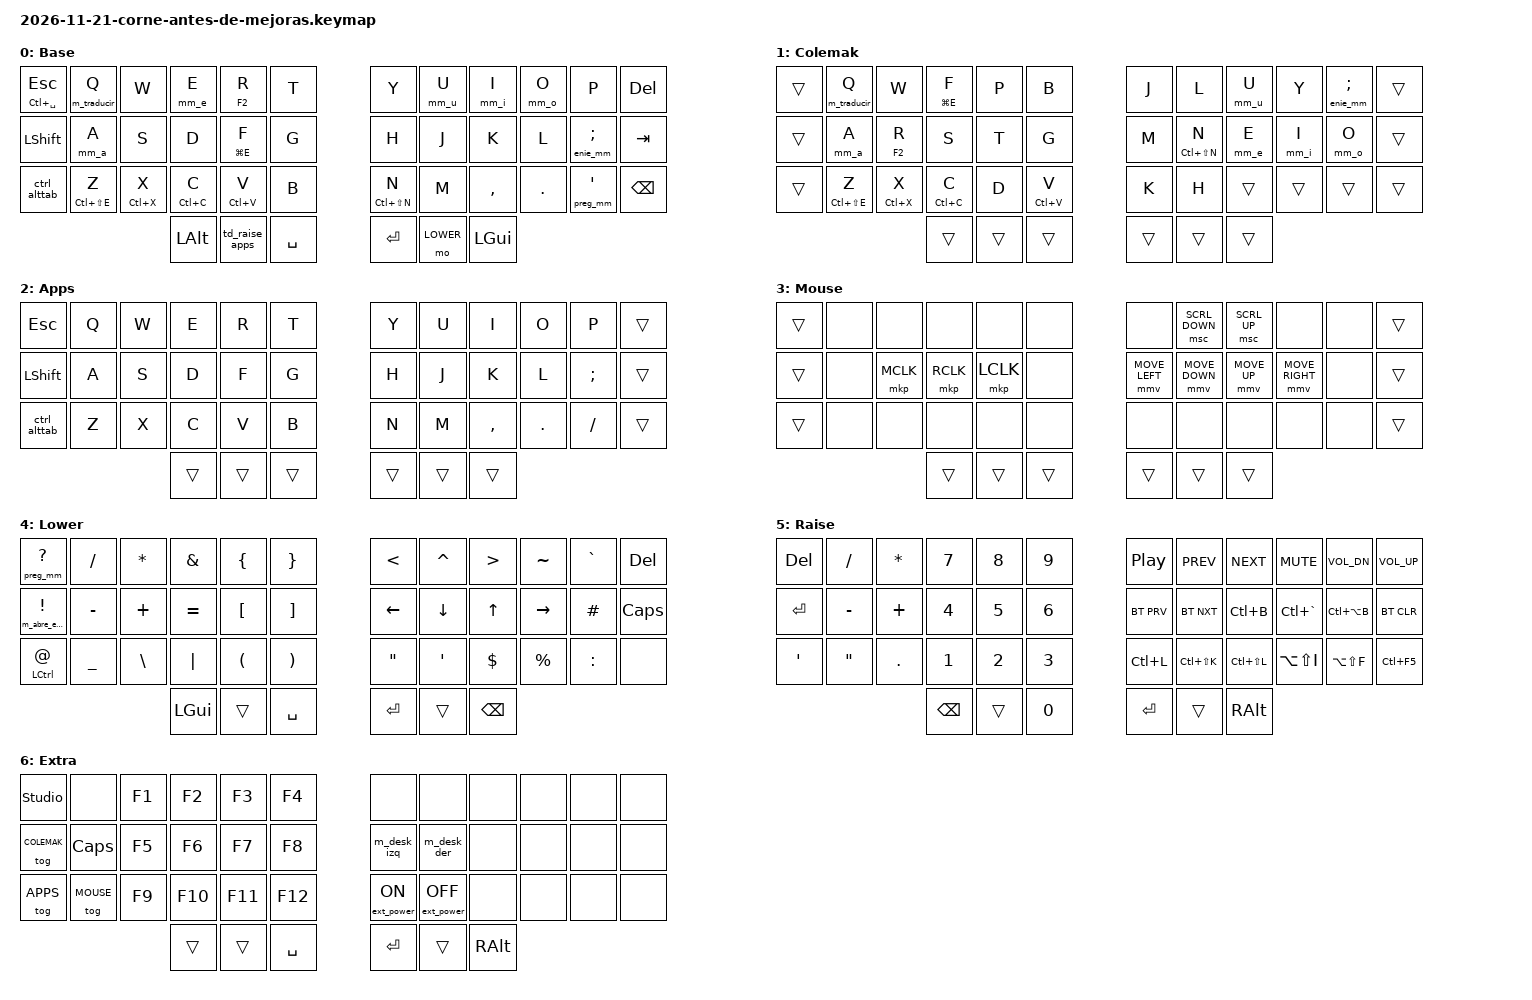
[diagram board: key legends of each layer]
#include <behaviors.dtsi>
#include <dt-bindings/zmk/bt.h>
#include <dt-bindings/zmk/ext_power.h>
#include <dt-bindings/zmk/keys.h>
#include <dt-bindings/zmk/pointing.h>

#define BASE     0
#define COLEMAK  1
#define APPS     2
#define MOUSE    3
#define LOWER    4
#define RAISE    5
#define EXTRA    6

// Combos: dos teclas juntas, solo en la capa base indicada. Posiciones:
//  0  1  2  3  4  5     6  7  8  9 10 11
// 12 13 14 15 16 17    18 19 20 21 22 23
// 24 25 26 27 28 29    30 31 32 33 34 35
//          36 37 38    39 40 41
#define COMBO(NAME, BINDING, KEYS, LAYER) \
    NAME { \
        timeout-ms = <35>; \
        key-positions = <KEYS>; \
        layers = <LAYER>; \
        bindings = <BINDING>; \
    };

/ {
    macros {
        m_paren: m_paren {
            compatible = "zmk,behavior-macro";
            #binding-cells = <0>;
            bindings = <&macro_tap &kp LPAR &kp RPAR &kp LEFT>;
        };
        m_brace: m_brace {
            compatible = "zmk,behavior-macro";
            #binding-cells = <0>;
            bindings = <&macro_tap &kp LBRC &kp RBRC &kp LEFT>;
        };
        m_bracket: m_bracket {
            compatible = "zmk,behavior-macro";
            #binding-cells = <0>;
            bindings = <&macro_tap &kp LBKT &kp RBKT &kp LEFT>;
        };
        m_eqeq: m_eqeq {
            compatible = "zmk,behavior-macro";
            #binding-cells = <0>;
            bindings = <&macro_tap &kp EQUAL &kp EQUAL>;
        };
        m_lte: m_lte {
            compatible = "zmk,behavior-macro";
            #binding-cells = <0>;
            bindings = <&macro_tap &kp LT &kp EQUAL>;
        };
        m_gte: m_gte {
            compatible = "zmk,behavior-macro";
            #binding-cells = <0>;
            bindings = <&macro_tap &kp GT &kp EQUAL>;
        };
        m_neq: m_neq {
            compatible = "zmk,behavior-macro";
            #binding-cells = <0>;
            bindings = <&macro_tap &kp EXCL &kp EQUAL>;
        };
        m_pluseq: m_pluseq {
            compatible = "zmk,behavior-macro";
            #binding-cells = <0>;
            bindings = <&macro_tap &kp PLUS &kp EQUAL>;
        };
        m_minuseq: m_minuseq {
            compatible = "zmk,behavior-macro";
            #binding-cells = <0>;
            bindings = <&macro_tap &kp MINUS &kp EQUAL>;
        };
        m_dslash: m_dslash {
            compatible = "zmk,behavior-macro";
            #binding-cells = <0>;
            bindings = <&macro_tap &kp FSLH &kp FSLH>;
        };
        m_dstar: m_dstar {
            compatible = "zmk,behavior-macro";
            #binding-cells = <0>;
            bindings = <&macro_tap &kp STAR &kp STAR>;
        };
        // Toca una sola vez la combinacion que recibe (para que mantener no la repita)
        tocar_una_vez: tocar_una_vez {
            compatible = "zmk,behavior-macro-one-param";
            #binding-cells = <1>;
            bindings
                = <&macro_param_1to1>
                , <&macro_tap &kp MACRO_PLACEHOLDER>
                ;
        };
        // Handy traducir: mantiene Ctrl+Shift+Espacio mientras se mantiene la Q.
        // Al apretar: Ctrl, Shift, Espacio. Al soltar: primero Espacio y despues los modificadores.
        m_traducir: m_traducir {
            compatible = "zmk,behavior-macro";
            #binding-cells = <0>;
            wait-ms = <20>;
            tap-ms = <20>;
            bindings
                = <&macro_press &kp LCTRL>
                , <&macro_press &kp LSHFT>
                , <&macro_press &kp SPACE>
                , <&macro_pause_for_release>
                , <&macro_release &kp SPACE>
                , <&macro_release &kp LSHFT>
                , <&macro_release &kp LCTRL>
                ;
        };
        // n con tilde por codigo Alt de Windows (requiere Bloq Num activado): Alt+0241 = n, Alt+0209 = N mayuscula
        // Escritorio virtual: Win y Ctrl se aprietan primero y la flecha despues, como a mano
        // Minimizar la ventana activa: Alt+Espacio (menu de la ventana) y despues N
        m_minimizar: m_minimizar {
            compatible = "zmk,behavior-macro";
            #binding-cells = <0>;
            wait-ms = <30>;
            tap-ms = <30>;
            bindings
                = <&macro_press &kp LALT>
                , <&macro_tap &kp SPACE>
                , <&macro_release &kp LALT>
                , <&macro_wait_time 150>
                , <&macro_tap &kp N>
                ;
        };
        m_desk_izq: m_desk_izq {
            compatible = "zmk,behavior-macro";
            #binding-cells = <0>;
            wait-ms = <30>;
            tap-ms = <30>;
            bindings
                = <&macro_press &kp LGUI &kp LCTRL>
                , <&macro_tap &kp LEFT>
                , <&macro_release &kp LCTRL &kp LGUI>
                ;
        };
        m_desk_der: m_desk_der {
            compatible = "zmk,behavior-macro";
            #binding-cells = <0>;
            wait-ms = <30>;
            tap-ms = <30>;
            bindings
                = <&macro_press &kp LGUI &kp LCTRL>
                , <&macro_tap &kp RIGHT>
                , <&macro_release &kp LCTRL &kp LGUI>
                ;
        };
        m_enie: m_enie {
            compatible = "zmk,behavior-macro";
            #binding-cells = <0>;
            wait-ms = <10>;
            tap-ms = <10>;
            bindings
                = <&macro_press &kp LALT>
                , <&macro_tap &kp KP_N0 &kp KP_N2 &kp KP_N4 &kp KP_N1>
                , <&macro_release &kp LALT>
                ;
        };
        m_enie_may: m_enie_may {
            compatible = "zmk,behavior-macro";
            #binding-cells = <0>;
            wait-ms = <10>;
            tap-ms = <10>;
            bindings
                = <&macro_press &kp LALT>
                , <&macro_tap &kp KP_N0 &kp KP_N2 &kp KP_N0 &kp KP_N9>
                , <&macro_release &kp LALT>
                ;
        };
        // Signos de apertura por codigo Alt: Alt+0191 = signo de pregunta invertido, Alt+0161 = exclamacion invertida
        m_abre_preg: m_abre_preg {
            compatible = "zmk,behavior-macro";
            #binding-cells = <0>;
            wait-ms = <10>;
            tap-ms = <10>;
            bindings
                = <&macro_press &kp LALT>
                , <&macro_tap &kp KP_N0 &kp KP_N1 &kp KP_N9 &kp KP_N1>
                , <&macro_release &kp LALT>
                ;
        };
        m_abre_excl: m_abre_excl {
            compatible = "zmk,behavior-macro";
            #binding-cells = <0>;
            wait-ms = <10>;
            tap-ms = <10>;
            bindings
                = <&macro_press &kp LALT>
                , <&macro_tap &kp KP_N0 &kp KP_N1 &kp KP_N6 &kp KP_N1>
                , <&macro_release &kp LALT>
                ;
        };
        // Vocales con tilde por codigo Alt (minuscula / mayuscula). Requiere Bloq Num activado.
        m_aa: m_aa {
            compatible = "zmk,behavior-macro";
            #binding-cells = <0>;
            wait-ms = <10>;
            tap-ms = <10>;
            bindings
                = <&macro_press &kp LALT>
                , <&macro_tap &kp KP_N0 &kp KP_N2 &kp KP_N2 &kp KP_N5>
                , <&macro_release &kp LALT>
                ;
        };
        m_aa_may: m_aa_may {
            compatible = "zmk,behavior-macro";
            #binding-cells = <0>;
            wait-ms = <10>;
            tap-ms = <10>;
            bindings
                = <&macro_press &kp LALT>
                , <&macro_tap &kp KP_N0 &kp KP_N1 &kp KP_N9 &kp KP_N3>
                , <&macro_release &kp LALT>
                ;
        };
        m_ee: m_ee {
            compatible = "zmk,behavior-macro";
            #binding-cells = <0>;
            wait-ms = <10>;
            tap-ms = <10>;
            bindings
                = <&macro_press &kp LALT>
                , <&macro_tap &kp KP_N0 &kp KP_N2 &kp KP_N3 &kp KP_N3>
                , <&macro_release &kp LALT>
                ;
        };
        m_ee_may: m_ee_may {
            compatible = "zmk,behavior-macro";
            #binding-cells = <0>;
            wait-ms = <10>;
            tap-ms = <10>;
            bindings
                = <&macro_press &kp LALT>
                , <&macro_tap &kp KP_N0 &kp KP_N2 &kp KP_N0 &kp KP_N1>
                , <&macro_release &kp LALT>
                ;
        };
        m_ii: m_ii {
            compatible = "zmk,behavior-macro";
            #binding-cells = <0>;
            wait-ms = <10>;
            tap-ms = <10>;
            bindings
                = <&macro_press &kp LALT>
                , <&macro_tap &kp KP_N0 &kp KP_N2 &kp KP_N3 &kp KP_N7>
                , <&macro_release &kp LALT>
                ;
        };
        m_ii_may: m_ii_may {
            compatible = "zmk,behavior-macro";
            #binding-cells = <0>;
            wait-ms = <10>;
            tap-ms = <10>;
            bindings
                = <&macro_press &kp LALT>
                , <&macro_tap &kp KP_N0 &kp KP_N2 &kp KP_N0 &kp KP_N5>
                , <&macro_release &kp LALT>
                ;
        };
        m_oo: m_oo {
            compatible = "zmk,behavior-macro";
            #binding-cells = <0>;
            wait-ms = <10>;
            tap-ms = <10>;
            bindings
                = <&macro_press &kp LALT>
                , <&macro_tap &kp KP_N0 &kp KP_N2 &kp KP_N4 &kp KP_N3>
                , <&macro_release &kp LALT>
                ;
        };
        m_oo_may: m_oo_may {
            compatible = "zmk,behavior-macro";
            #binding-cells = <0>;
            wait-ms = <10>;
            tap-ms = <10>;
            bindings
                = <&macro_press &kp LALT>
                , <&macro_tap &kp KP_N0 &kp KP_N2 &kp KP_N1 &kp KP_N1>
                , <&macro_release &kp LALT>
                ;
        };
        m_uu: m_uu {
            compatible = "zmk,behavior-macro";
            #binding-cells = <0>;
            wait-ms = <10>;
            tap-ms = <10>;
            bindings
                = <&macro_press &kp LALT>
                , <&macro_tap &kp KP_N0 &kp KP_N2 &kp KP_N5 &kp KP_N0>
                , <&macro_release &kp LALT>
                ;
        };
        m_uu_may: m_uu_may {
            compatible = "zmk,behavior-macro";
            #binding-cells = <0>;
            wait-ms = <10>;
            tap-ms = <10>;
            bindings
                = <&macro_press &kp LALT>
                , <&macro_tap &kp KP_N0 &kp KP_N2 &kp KP_N1 &kp KP_N8>
                , <&macro_release &kp LALT>
                ;
        };
    };

    combos {
        compatible = "zmk,combos";
        COMBO(c_paren, &m_paren, 19 20, BASE)   // J + K  ->  ()
        COMBO(c_brace, &m_brace, 20 21, BASE)   // K + L  ->  {}
        COMBO(c_bracket, &m_bracket, 31 32, BASE)   // M + ,  ->  []
        COMBO(c_cerrar, &kp LA(F4), 1 2, BASE)   // Q + W  ->  Alt+F4 (cerrar ventana)
        COMBO(c_minimizar, &m_minimizar, 1 3, BASE)   // Q + E  ->  minimizar ventana (Alt+Espacio, N)
        COMBO(c_del, &kp DEL, 25 26, BASE COLEMAK APPS)   // Z + X  ->  Del (tambien en modo Apps)
        COMBO(c_eqeq, &m_eqeq, 26 27, BASE)   // X + C  ->  ==
        COMBO(c_lte, &m_lte, 27 28, BASE)   // C + V  ->  <=
        COMBO(c_gte, &m_gte, 28 29, BASE)   // V + B  ->  >=
        COMBO(c_neq, &m_neq, 14 15, BASE)   // S + D  ->  !=
        COMBO(c_pluseq, &m_pluseq, 15 16, BASE)   // D + F  ->  +=
        COMBO(c_minuseq, &m_minuseq, 16 17, BASE)   // F + G  ->  -=
        COMBO(c_dslash, &m_dslash, 32 33, BASE)   // , + .  ->  //
        COMBO(c_dstar, &m_dstar, 30 31, BASE)   // N + M  ->  **
        // Colemak-DH: las posiciones que en Colemak caen sobre pares comunes se movieron.
        COMBO(k_neq,     &m_neq,     1 2,   COLEMAK)   // Q + W  ->  !=
        COMBO(k_pluseq,  &m_pluseq,  2 3,   COLEMAK)   // W + F  ->  +=
        COMBO(k_paren,   &m_paren,   3 4,   COLEMAK)   // F + P  ->  ()
        COMBO(k_brace,   &m_brace,   4 5,   COLEMAK)   // P + B  ->  {}
        COMBO(k_minuseq, &m_minuseq, 16 17, COLEMAK)   // T + G  ->  -=
        COMBO(k_eqeq,    &m_eqeq,    26 27, COLEMAK)   // X + C  ->  ==
        COMBO(k_lte,     &m_lte,     27 28, COLEMAK)   // C + D  ->  <=
        COMBO(k_gte,     &m_gte,     28 29, COLEMAK)   // D + V  ->  >=
        COMBO(k_dstar,   &m_dstar,   30 31, COLEMAK)   // K + H  ->  **
        COMBO(k_bracket, &m_bracket, 31 32, COLEMAK)   // H + ,  ->  []
        COMBO(k_dslash,  &m_dslash,  32 33, COLEMAK)   // , + .  ->  //
    };

    behaviors {
        // Esc: toque = Esc, mantener = transcribir con Handy (Ctrl+Space)
        esc_dictar: esc_dictar {
            compatible = "zmk,behavior-hold-tap";
            #binding-cells = <2>;
            flavor = "tap-preferred";
            tapping-term-ms = <250>;
            bindings = <&kp>, <&kp>;
        };

        // Z X C V R F N: toque = letra, mantener = descomprimir (Ctrl+Shift+E) / cortar / copiar / pegar / renombrar (F2) / Explorador (Win+E, en la F) / nueva carpeta (Ctrl+Shift+N)
        edicion: edicion {
            compatible = "zmk,behavior-hold-tap";
            #binding-cells = <2>;
            flavor = "tap-preferred";
            tapping-term-ms = <300>;
            bindings = <&tocar_una_vez>, <&kp>;
        };

        // Ctrl: sola = Ctrl normal; con Alt mantenido = Tab (Alt+Tab con la mano izquierda)
        ctrl_alttab: ctrl_alttab {
            compatible = "zmk,behavior-mod-morph";
            #binding-cells = <0>;
            bindings = <&kp LCTRL>, <&kp TAB>;
            mods = <(MOD_LALT|MOD_RALT)>;
            keep-mods = <(MOD_LALT|MOD_RALT)>;
        };


        // Q: toque = q, mantener = transcribir y traducir con Handy (Ctrl+Shift+Space)
        q_traducir: q_traducir {
            compatible = "zmk,behavior-hold-tap";
            #binding-cells = <2>;
            flavor = "tap-preferred";
            tapping-term-ms = <300>;
            bindings = <&m_traducir>, <&kp>;
        };

        // ; : toque = punto y coma, mantener = n con tilde (con Shift, mayuscula). Solo Windows.
        enie_mm: enie_mm {
            compatible = "zmk,behavior-mod-morph";
            #binding-cells = <0>;
            bindings = <&m_enie>, <&m_enie_may>;
            mods = <(MOD_LSFT|MOD_RSFT)>;
        };
        semi_enie: semi_enie {
            compatible = "zmk,behavior-hold-tap";
            #binding-cells = <2>;
            flavor = "tap-preferred";
            tapping-term-ms = <300>;
            bindings = <&enie_mm>, <&kp>;
        };

        // / : toque = barra (con Shift, ?), mantener = signo de pregunta de apertura (con o sin Shift). Solo Windows.
        preg_mm: preg_mm {
            compatible = "zmk,behavior-mod-morph";
            #binding-cells = <0>;
            bindings = <&m_abre_preg>, <&m_abre_preg>;
            mods = <(MOD_LSFT|MOD_RSFT)>;
        };
        slash_preg: slash_preg {
            compatible = "zmk,behavior-hold-tap";
            #binding-cells = <2>;
            flavor = "tap-preferred";
            tapping-term-ms = <300>;
            bindings = <&preg_mm>, <&kp>;
        };
        // ! en Lower: toque = !, mantener = exclamacion de apertura. Solo Windows.
        excl_abre: excl_abre {
            compatible = "zmk,behavior-hold-tap";
            #binding-cells = <2>;
            flavor = "tap-preferred";
            tapping-term-ms = <300>;
            bindings = <&m_abre_excl>, <&kp>;
        };

        // Vocales: toque = vocal, mantener = vocal con tilde (con Shift, mayuscula). Solo Windows.
        mm_a: mm_a {
            compatible = "zmk,behavior-mod-morph";
            #binding-cells = <0>;
            bindings = <&m_aa>, <&m_aa_may>;
            mods = <(MOD_LSFT|MOD_RSFT)>;
        };
        tilde_a: tilde_a {
            compatible = "zmk,behavior-hold-tap";
            #binding-cells = <2>;
            flavor = "tap-preferred";
            tapping-term-ms = <300>;
            bindings = <&mm_a>, <&kp>;
        };
        mm_e: mm_e {
            compatible = "zmk,behavior-mod-morph";
            #binding-cells = <0>;
            bindings = <&m_ee>, <&m_ee_may>;
            mods = <(MOD_LSFT|MOD_RSFT)>;
        };
        tilde_e: tilde_e {
            compatible = "zmk,behavior-hold-tap";
            #binding-cells = <2>;
            flavor = "tap-preferred";
            tapping-term-ms = <300>;
            bindings = <&mm_e>, <&kp>;
        };
        mm_i: mm_i {
            compatible = "zmk,behavior-mod-morph";
            #binding-cells = <0>;
            bindings = <&m_ii>, <&m_ii_may>;
            mods = <(MOD_LSFT|MOD_RSFT)>;
        };
        tilde_i: tilde_i {
            compatible = "zmk,behavior-hold-tap";
            #binding-cells = <2>;
            flavor = "tap-preferred";
            tapping-term-ms = <300>;
            bindings = <&mm_i>, <&kp>;
        };
        mm_o: mm_o {
            compatible = "zmk,behavior-mod-morph";
            #binding-cells = <0>;
            bindings = <&m_oo>, <&m_oo_may>;
            mods = <(MOD_LSFT|MOD_RSFT)>;
        };
        tilde_o: tilde_o {
            compatible = "zmk,behavior-hold-tap";
            #binding-cells = <2>;
            flavor = "tap-preferred";
            tapping-term-ms = <300>;
            bindings = <&mm_o>, <&kp>;
        };
        mm_u: mm_u {
            compatible = "zmk,behavior-mod-morph";
            #binding-cells = <0>;
            bindings = <&m_uu>, <&m_uu_may>;
            mods = <(MOD_LSFT|MOD_RSFT)>;
        };
        tilde_u: tilde_u {
            compatible = "zmk,behavior-hold-tap";
            #binding-cells = <2>;
            flavor = "tap-preferred";
            tapping-term-ms = <300>;
            bindings = <&mm_u>, <&kp>;
        };


        // Raise: mantener = capa Raise; doble toque = prender/apagar modo Apps
        td_raise_apps: td_raise_apps {
            compatible = "zmk,behavior-tap-dance";
            #binding-cells = <0>;
            tapping-term-ms = <200>;
            bindings = <&mo RAISE>, <&tog APPS>;
        };
        // @ en Lower: toque = @, mantener = Ctrl (para Ctrl+flechas). Balanced: evita Ctrl accidental al escribir rapido.
        ctrl_arroba: ctrl_arroba {
            compatible = "zmk,behavior-hold-tap";
            #binding-cells = <2>;
            flavor = "balanced";
            tapping-term-ms = <200>;
            bindings = <&kp>, <&kp>;
        };
    };

    keymap {
        compatible = "zmk,keymap";

        // 0: Base. Shift normal (Bloq Mayus en Lower y en Extra).
        // Abajo izq: Ctrl; con Alt mantenido = Tab (Alt+Tab).
        // Mantenidas: Z descomprimir (Ctrl+Shift+E), X cortar, C copiar, V pegar, R renombrar (F2), F Explorador (Win+E), vocales con tilde (A E I O U), N nueva carpeta (Ctrl+Shift+N), ; enie (Alt+0241), / apertura de pregunta (Alt+0191); en Lower, ! apertura de exclamacion (Alt+0161).
        // Arriba izq: toque = Esc, mantener = transcribir (Handy). Q mantenida = traducir.
        base_layer {
            display-name = "Base";
            bindings = <
&esc_dictar LC(SPACE) ESC  &q_traducir 0 Q  &kp W  &tilde_e 0 E  &edicion F2 R  &kp T        &kp Y  &tilde_u 0 U  &tilde_i 0 I      &tilde_o 0 O    &kp P     &kp DEL
&kp LSHFT      &tilde_a 0 A  &kp S  &kp D  &edicion LG(E) F  &kp G        &kp H  &kp J  &kp K      &kp L    &semi_enie 0 SEMI  &kp TAB
&ctrl_alttab    &edicion LC(LS(E)) Z  &edicion LC(X) X  &edicion LC(C) C  &edicion LC(V) V  &kp B        &edicion LC(LS(N)) N  &kp M  &kp COMMA  &kp DOT  &slash_preg 0 SQT  &kp BSPC
                   &kp LALT  &td_raise_apps  &kp SPACE        &kp RET  &mo LOWER  &kp LGUI
            >;
        };

        // 1: Colemak-DH. Solo cambian las letras; el resto viene de la base.
        // Se prende/apaga en Extra (Raise + Lower), tecla izquierda de la fila del medio.
        colemak_layer {
            display-name = "Colemak";
            bindings = <
&trans  &q_traducir 0 Q  &kp W  &edicion LG(E) F  &kp P  &kp B        &kp J  &kp L  &tilde_u 0 U  &kp Y  &semi_enie 0 SEMI  &trans
&trans  &tilde_a 0 A  &edicion F2 R  &kp S  &kp T  &kp G        &kp M  &edicion LC(LS(N)) N  &tilde_e 0 E  &tilde_i 0 I  &tilde_o 0 O     &trans
&trans  &edicion LC(LS(E)) Z  &edicion LC(X) X  &edicion LC(C) C  &kp D  &edicion LC(V) V        &kp K  &kp H  &trans &trans &trans    &trans
                    &trans  &trans  &trans        &trans  &trans  &trans
            >;
        };

        // 2: Apps (D5, Lumion, AutoCAD, juegos). Letras QWERTY normales, sin funciones al mantener. Solo combo Z+X (Del).
        // Se prende/apaga con doble toque de Raise, o en Extra (Raise + Lower), abajo a la izquierda.
        apps_layer {
            display-name = "Apps";
            bindings = <
&kp ESC    &kp Q  &kp W  &kp E  &kp R  &kp T        &kp Y  &kp U  &kp I  &kp O  &kp P     &trans
&kp LSHFT  &kp A  &kp S  &kp D  &kp F  &kp G        &kp H  &kp J  &kp K  &kp L  &kp SEMI  &trans
&ctrl_alttab &kp Z  &kp X  &kp C  &kp V  &kp B        &kp N  &kp M  &kp COMMA  &kp DOT  &kp FSLH  &trans
                    &trans  &trans  &trans        &trans  &trans  &trans
            >;
        };

        // 3: Mouse. Cursor con las teclas. Se prende/apaga en Extra (abajo a la izquierda, al lado de Apps).
        // Derecha: mover en H J K L (como Lower y Vim), scroll en U (abajo) e I (arriba). Izquierda: F clic, D clic derecho, S clic del medio.
        mouse_layer {
            display-name = "Mouse";
            bindings = <
&trans  &none  &none        &none        &none        &none        &none             &msc SCRL_DOWN   &msc SCRL_UP      &none           &none  &trans
&trans  &none  &mkp MCLK    &mkp RCLK    &mkp LCLK    &none        &mmv MOVE_LEFT    &mmv MOVE_DOWN   &mmv MOVE_UP      &mmv MOVE_RIGHT &none  &trans
&trans  &none  &none        &none        &none        &none        &none             &none            &none             &none           &none  &trans
                    &trans  &trans  &trans        &trans  &trans  &trans
            >;
        };

        // 4: Lower (pulgar derecho). Izquierda: simbolos de programacion. Derecha: navegacion.
        lower_layer {
            display-name = "Lower";
            bindings = <
&slash_preg 0 QMARK  &kp FSLH  &kp STAR  &kp AMPS  &kp LBRC  &kp RBRC      &kp LT    &kp CARET  &kp GT     &kp TILDE  &kp GRAVE  &kp DEL
&excl_abre 0 EXCL  &kp MINUS  &kp PLUS  &kp EQUAL  &kp LBKT  &kp RBKT      &kp LEFT  &kp DOWN   &kp UP       &kp RIGHT  &kp HASH  &kp CAPS
&ctrl_arroba LCTRL AT  &kp UNDER  &kp BSLH  &kp PIPE  &kp LPAR  &kp RPAR      &kp DQT   &kp SQT    &kp DLLR   &kp PRCNT  &kp COLON  &none
                        &kp LGUI  &trans  &kp SPACE               &kp RET  &trans  &kp BSPC
            >;
        };

        // 5: Raise (pulgar izquierdo). Izquierda: numerico. Derecha: multimedia, Bluetooth y VS Code.
        // VS Code (fila de abajo): Ctrl+L sel. linea, Ctrl+Shift+K borrar linea, Ctrl+Shift+L sel. coincidencias,
        //          Shift+Alt+I cursores, Alt+Shift+F formatear, Ctrl+F5 ejecutar.
        raise_layer {
            display-name = "Raise";
            bindings = <
&kp DEL          &kp FSLH   &kp STAR  &kp N7  &kp N8  &kp N9        &kp C_PLAY_PAUSE  &kp C_PREV      &kp C_NEXT       &kp C_MUTE     &kp C_VOL_DN    &kp C_VOL_UP
&kp RET          &kp MINUS  &kp PLUS  &kp N4  &kp N5  &kp N6        &bt BT_PRV        &bt BT_NXT      &kp LC(B)        &kp LC(GRAVE)  &kp LC(LA(B))   &bt BT_CLR
&kp SQT          &kp DQT    &kp DOT   &kp N1  &kp N2  &kp N3        &kp LC(L)         &kp LC(LS(K))   &kp LC(LS(L))    &kp LA(LS(I))  &kp LA(LS(F))   &kp LC(F5)
                         &kp BSPC  &trans  &kp N0           &kp RET  &trans  &kp RALT
            >;
        };

        // 6: Extra (Raise + Lower). F1-F12, Studio, QWERTY/Colemak, modo Apps y pantallas.
        extra_layer {
            display-name = "Extra";
            bindings = <
&studio_unlock  &none  &kp F1   &kp F2   &kp F3   &kp F4      &none             &none              &none  &none  &none  &none
&tog COLEMAK    &kp CAPS  &kp F5   &kp F6   &kp F7   &kp F8      &m_desk_izq       &m_desk_der         &none  &none  &none  &none
&tog APPS       &tog MOUSE  &kp F9   &kp F10  &kp F11  &kp F12     &ext_power EP_ON  &ext_power EP_OFF  &none  &none  &none  &none
                               &trans  &trans  &kp SPACE    &kp RET  &trans  &kp RALT
            >;
        };
    };

    conditional_layers {
        compatible = "zmk,conditional-layers";

        extra_layer {
            if-layers = <LOWER RAISE>;
            then-layer = <EXTRA>;
        };
    };
};
